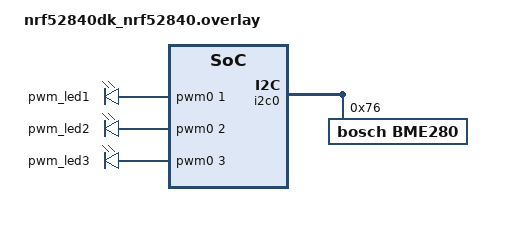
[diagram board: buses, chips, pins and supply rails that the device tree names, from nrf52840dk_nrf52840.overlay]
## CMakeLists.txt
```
# SPDX-License-Identifier: Apache-2.0

cmake_minimum_required(VERSION 3.20.0)
find_package(Zephyr REQUIRED HINTS $ENV{ZEPHYR_BASE})
project(my_blinky)

set(DIRECTION_APP
    src
    src/leds_buttons
    src/leds_pwm
    src/sensors
)

set(SOURCE_APP
    src/main.c
    src/leds_buttons/leds_buttons.c
    src/leds_pwm/leds_pwm.c
    src/sensors/bme280.c
)

target_sources(app PRIVATE ${SOURCE_APP})
zephyr_include_directories(${DIRECTION_APP})
```

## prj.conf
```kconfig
CONFIG_GPIO=y
CONFIG_STDOUT_CONSOLE=y
CONFIG_PRINTK=y
CONFIG_PWM=y
CONFIG_LOG=y
CONFIG_LOG_PRINTK=y
CONFIG_LOG_MODE_IMMEDIATE=y
CONFIG_PWM_LOG_LEVEL_DBG=y
CONFIG_DEBUG_OPTIMIZATIONS=y
CONFIG_DEBUG_THREAD_INFO=y
CONFIG_CBPRINTF_FP_A_SUPPORT=y
CONFIG_I2C=y
CONFIG_SENSOR=y
CONFIG_BME280=y
```

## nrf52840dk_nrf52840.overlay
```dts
// To get started, press Ctrl+Space to bring up the completion menu and view the available nodes.

// You can also use the buttons in the sidebar to perform actions on nodes.
// Actions currently available include:

// * Enabling / disabling the node
// * Adding the bus to a bus
// * Removing the node
// * Connecting ADC channels

// For more help, browse the DeviceTree documentation at https: //docs.zephyrproject.org/latest/guides/dts/index.html
// You can also visit the nRF DeviceTree extension documentation at https: //nrfconnect.github.io/vscode-nrf-connect/devicetree/nrfdevicetree.html

&pwm0_default {

	group1 {
		psels = <NRF_PSEL(PWM_OUT0, 0, 13)>,
		        <NRF_PSEL(PWM_OUT1, 0, 14)>,
		        <NRF_PSEL(PWM_OUT2, 0, 15)>,
		        <NRF_PSEL(PWM_OUT3, 0, 16)>;
	};
};

/ {
	pwmleds {
		compatible = "pwm-leds";
		pwm_led1: pwm_led_1 {
			pwms = <&pwm0 1 PWM_MSEC(20) PWM_POLARITY_INVERTED>;
		};

		pwm_led2: pwm_led_2 {
			pwms = <&pwm0 2 PWM_MSEC(20) PWM_POLARITY_INVERTED>;
		};

		pwm_led3: pwm_led_3 {
			pwms = <&pwm0 3 PWM_MSEC(20) PWM_POLARITY_INVERTED>;
		};
	};

	aliases {
		pwm-led1 = &pwm_led1;
		pwm-led2 = &pwm_led2;
		pwm-led3 = &pwm_led3;
	};
};


arduino_i2c: &i2c0 {
	bme280@76 {
		compatible = "bosch,bme280";
		reg = <0x76>;
		label = "BME280";
		status = "okay";
	};
};
```

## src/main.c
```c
/*
 * Copyright (c) 2016 Intel Corporation
 *
 * SPDX-License-Identifier: Apache-2.0
 */

#include <zephyr/kernel.h>

#include "leds_buttons.h"
#include "leds_pwm.h"
#include "bme280.h"

/* 1000 msec = 1 sec */
#define SLEEP_TIME_MS 1000

int main(void)
{
	// leds_buttons_init();
	led_pwm_init();
	bme280_init();
	printk("My blinky app!\n");

	while (1)
	{
		k_msleep(SLEEP_TIME_MS);
	}
	return 0;
}
```
